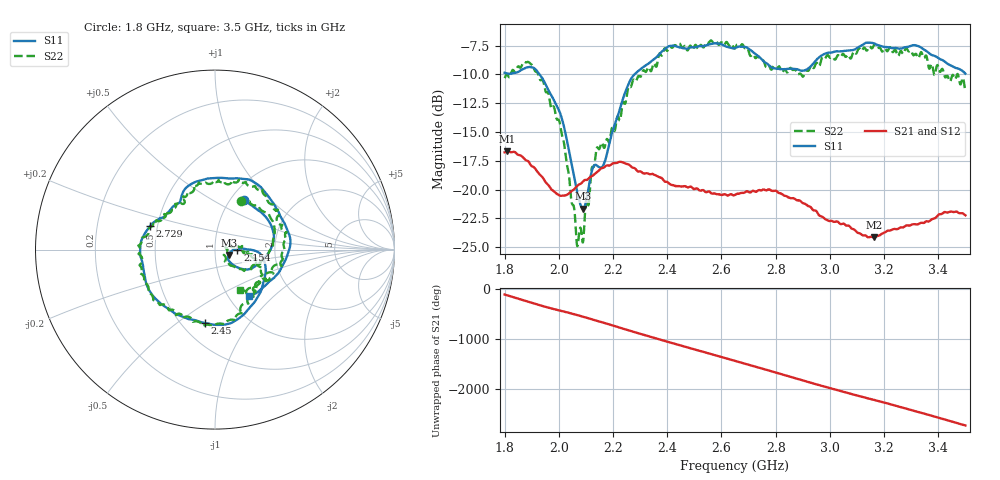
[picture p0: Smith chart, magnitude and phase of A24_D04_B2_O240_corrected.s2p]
! Created with skrf 1.9.0 (http://scikit-rf.org).
# Hz S RI R 50.0
!freq ReS11 ImS11 ReS21 ImS21 ReS12 ImS12 ReS22 ImS22
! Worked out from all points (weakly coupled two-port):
!   1601 points, 1.8 GHz to 3.5 GHz, reference 50 ohm
!   highest |S21| = -16.67 dB at 1.811 GHz (marker M1); lowest = -24.1 dB at 3.162 GHz (marker M2)
!   lowest |S11| = -21.7 dB at 2.09 GHz (marker M3), VSWR 1.18, Z = 58.2 - j3.49 ohm
!   |S11| at or under -10 dB: 1.93 GHz to 2.279 GHz (349.7 MHz wide, 16.6 % of centre)
!   |S22| runs from -24.9 to -7.1 dB; largest |S21 - S12| = 0.0023
!   S11 on the Smith chart (normalised r, x): 1.8 GHz: 1.15, +0.71; 2.154 GHz: 1.28, -0.01; 2.45 GHz: 0.65, -0.64; 2.729 GHz: 0.45, +0.14; 3.5 GHz: 1.24, -0.71
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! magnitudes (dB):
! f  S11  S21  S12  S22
! 1.8 GHz  -9.8  -16.8  -16.8  -10.3
! 1.811 GHz  -9.9  -16.7  -16.7  -10.0
! 1.883 GHz  -9.4  -17.5  -17.5  -8.9
! 1.941 GHz  -10.4  -19.0  -19.0  -10.5
! 2.006 GHz  -13.4  -20.5  -20.5  -14.6
! 2.066 GHz  -20.0  -19.7  -19.7  -24.5
! 2.084 GHz  -21.5  -19.4  -19.4  -23.8
! 2.09 GHz  -21.7  -19.3  -19.3  -24.4
! 2.126 GHz  -18.1  -18.8  -18.7  -18.0
! 2.154 GHz  -18.1  -18.2  -18.2  -16.2
! 2.186 GHz  -16.1  -17.9  -17.9  -15.9
! 2.263 GHz  -10.5  -17.9  -17.9  -11.1
! 2.367 GHz  -8.3  -18.9  -18.8  -8.5
! 2.45 GHz  -7.7  -19.7  -19.7  -7.5
! 2.65 GHz  -7.7  -20.5  -20.4  -7.7
! 2.729 GHz  -8.3  -20.2  -20.2  -8.6
! 2.799 GHz  -9.5  -20.1  -20.1  -9.3
! 2.934 GHz  -9.2  -21.6  -21.6  -9.3
! 3.162 GHz  -7.3  -24.1  -24.1  -7.5
! 3.217 GHz  -7.7  -23.6  -23.5  -7.8
! 3.323 GHz  -7.5  -23.0  -23.0  -8.4
! 3.5 GHz  -9.9  -22.2  -22.2  -11.5
